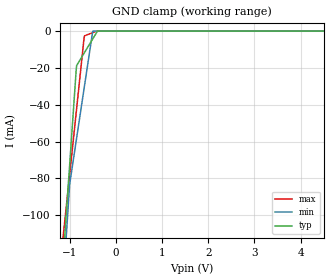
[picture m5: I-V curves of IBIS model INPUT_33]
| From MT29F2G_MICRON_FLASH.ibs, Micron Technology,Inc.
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|   MODEL INPUT_33
[Model]   INPUT_33
Model_type   Input
Vinl = 660mV
Vinh = 2.640V
|   typ   min   max
C_comp   4.70pF   3.95pF   5.23pF
[Model Spec]
| Input threshold voltage corners
Vinl   0.660V   0.540V   0.72V
Vinh   2.640V   2.160V   2.880V
[Voltage Range]   3.300V   2.700V   3.600V
| Junction Temperature (Ambient temp is 25C typ, 70C min, 0C max)
[Temperature Range]   40   85   0
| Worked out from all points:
|   GND clamp passes 1 mA (typ) near -0.42 V on its own axis
[GND Clamp]
|   Voltage   I(typ)   I(min)   I(max)
-3.3V     -1.031A    -1.032A    -1.032A
-1.18V    -138mA     -152.6mA   -120.7mA
-1.01V    -76.06mA   -86.67mA   -80.22mA
-1V       -72.41mA   -83.05mA   -77.84mA
-860mV    -21.39mA   -59.75mA   -44.51mA
-850mV    -18.72mA   -58.08mA   -42.13mA
-690mV    -12.08mA   -31.45mA   -4.035mA
-680mV    -11.67mA   -29.79mA   -2.593mA
-500mV    -4.202mA   -20.2uA    -831.2uA
-400mV    -53.53uA   -11.66uA   -22.14uA
-390mV    -2.405uA   -10.81uA   -21.09uA
6.6V      0A         0A         0A
[POWER Clamp]
|No Power Clamp Diode
|   Voltage   I(typ)   I(min)   I(max)
-3.3V     0A         0A         0A
0V        0A         0A         0A
6.6V      0A         0A         0A
